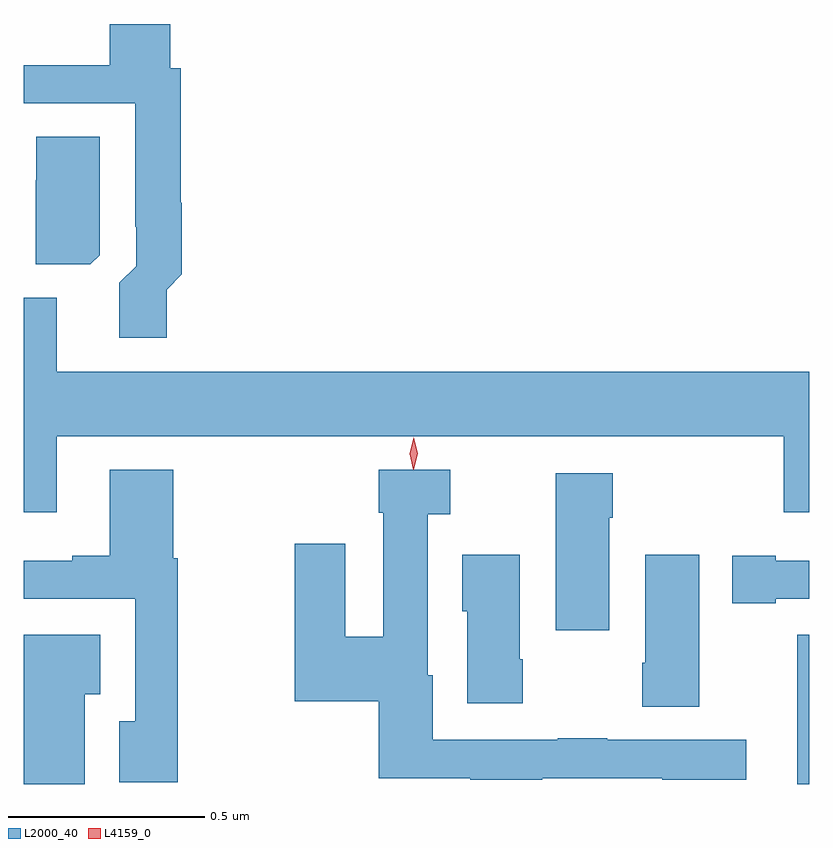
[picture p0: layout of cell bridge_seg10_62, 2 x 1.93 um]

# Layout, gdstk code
import gdstk
lib = gdstk.Library(unit=1e-6, precision=1e-09)
def R(c, l, rs):  # rectangles x0, y0, x1, y1
    for r in rs: c.add(gdstk.rectangle(r[:2], r[2:], *l))
def P(c, l, *ps):  # polygons
    for p in ps: c.add(gdstk.Polygon(p, *l))
L2000_40 = (2000, 40)
L4159_0 = (4159, 0)

bridge_seg10_62 = lib.new_cell('bridge_seg10_62')
R(bridge_seg10_62, L2000_40, [(824.198,1298.099,824.229,1298.479)])
P(bridge_seg10_62, L2000_40, [(822.593,1299.357),(822.632,1299.396),(822.632,1299.578),(822.629,1299.578),(822.629,1299.921),(822.602,1299.921),(822.602,1300.033),(822.449,1300.033),(822.449,1299.928),(822.229,1299.928),(822.229,1299.831),(822.513,1299.831),(822.513,1299.517),(822.516,1299.517),(822.516,1299.417),(822.473,1299.374),(822.473,1299.234),(822.593,1299.234)],
  [(822.423,1299.444),(822.423,1299.746),(822.261,1299.746),(822.261,1299.635),(822.26,1299.635),(822.26,1299.421),(822.399,1299.421)],
  [(822.313,1299.336),(822.229,1299.336),(822.229,1298.79),(822.313,1298.79),(822.313,1298.984),(824.164,1298.984),(824.164,1298.79),(824.229,1298.79),(824.229,1299.148),(822.313,1299.148)],
  [(822.622,1298.674),(822.61,1298.674),(822.61,1298.899),(822.449,1298.899),(822.449,1298.68),(822.353,1298.68),(822.353,1298.667),(822.229,1298.667),(822.229,1298.571),(822.513,1298.571),(822.513,1298.259),(822.473,1298.259),(822.473,1298.103),(822.622,1298.103)],
  [(823.549,1298.114),(823.855,1298.114),(823.855,1298.11),(824.068,1298.11),(824.068,1298.211),(823.715,1298.211),(823.715,1298.216),(823.588,1298.216),(823.588,1298.211),(823.27,1298.211),(823.27,1298.376),(823.258,1298.376),(823.258,1298.786),(823.315,1298.786),(823.315,1298.899),(823.133,1298.899),(823.133,1298.789),(823.145,1298.789),(823.145,1298.474),(823.048,1298.474),(823.048,1298.71),(822.919,1298.71),(822.919,1298.309),(823.133,1298.309),(823.133,1298.114),(823.366,1298.114),(823.366,1298.11),(823.549,1298.11)],
  [(823.72,1298.777),(823.728,1298.777),(823.728,1298.89),(823.583,1298.89),(823.583,1298.49),(823.72,1298.49)],
  [(823.5,1298.416),(823.492,1298.416),(823.492,1298.683),(823.346,1298.683),(823.346,1298.538),(823.358,1298.538),(823.358,1298.304),(823.5,1298.304)],
  [(823.948,1298.683),(823.811,1298.683),(823.811,1298.407),(823.804,1298.407),(823.804,1298.296),(823.948,1298.296)],
  [(824.143,1298.571),(824.229,1298.571),(824.229,1298.667),(824.143,1298.667),(824.143,1298.68),(824.033,1298.68),(824.033,1298.559),(824.143,1298.559)],
  [(822.385,1298.327),(822.424,1298.327),(822.424,1298.479),(822.229,1298.479),(822.229,1298.099),(822.385,1298.099)])
P(bridge_seg10_62, L4159_0, [(823.221,1298.899),(823.212,1298.94),(823.222,1298.981),(823.222,1298.981),(823.222,1298.981),(823.232,1298.94),(823.222,1298.899),(823.222,1298.899)])

lib.write_gds('bridge_seg10_62.gds')
